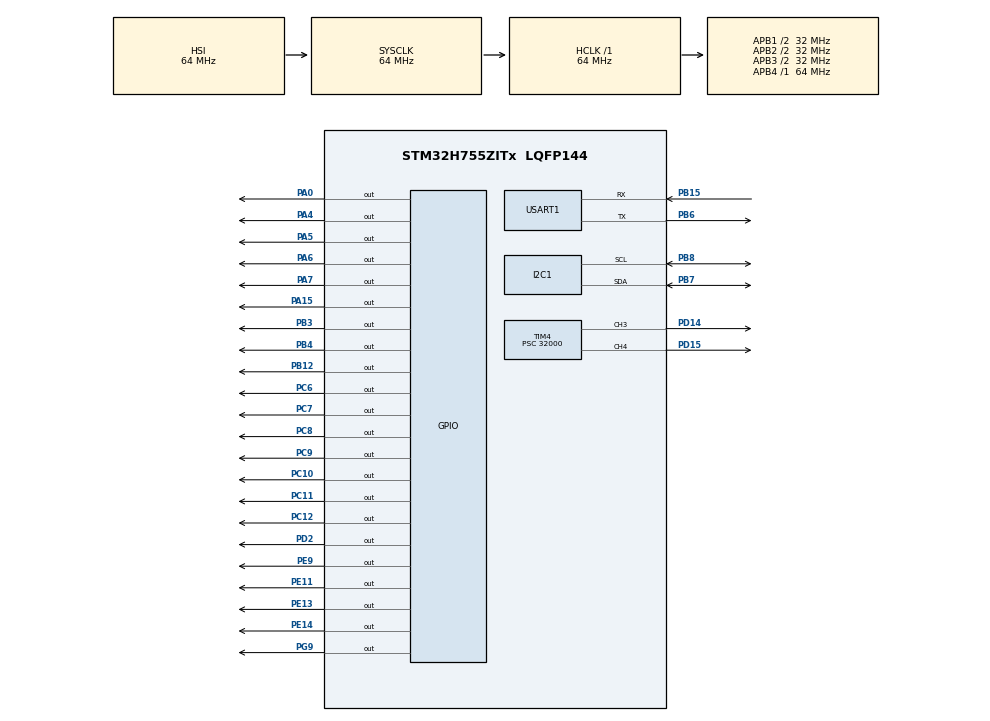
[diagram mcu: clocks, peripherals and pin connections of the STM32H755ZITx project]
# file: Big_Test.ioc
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CORTEX_M7.default_mode_Activation=1
CortexM4.IPs=BDMA,CORTEX_M4\:I,DMA,FATFS_M4\:I,FREERTOS_M4\:I,GPIO,IWDG2\:I,MDMA,NVIC2\:I,OPENAMP_M4\:I,PDM2PCM_M4\:I,PWR,RCC,RESMGR_UTILITY,SYS_M4\:I,USB_DEVICE_M4\:I,USB_HOST_M4\:I,VREFBUF,WWDG2\:I,TIM4,USART1
CortexM7.IPs=BDMA\:I,CORTEX_M7\:I,DMA\:I,FATFS_M7\:I,FREERTOS_M7\:I,GPIO\:I,IWDG1\:I,MDMA\:I,NVIC1\:I,OPENAMP_M7\:I,PDM2PCM_M7\:I,PWR\:I,RCC\:I,RESMGR_UTILITY\:I,SYS\:I,USB_DEVICE_M7\:I,USB_HOST_M7\:I,VREFBUF\:I,WWDG1\:I,MEMORYMAP\:I,TIM4\:I,TIM3\:I,I2C1\:I,TIM2\:I,USART1\:I
CortexM7.Pins=PA0,PA4,PA5,PA6,PA7,PE9,PE11,PE13,PE14,PB12,PC6,PC7,PC8,PC9,PA15 (JTDI),PC10,PC11,PC12,PD2,PG9,PB3 (JTDO/TRACESWO)
I2C1.Timing=0x00707CBB
Mcu.Family=STM32H7
Mcu.Name=STM32H755ZITx
Mcu.Package=LQFP144
NVIC1.PriorityGroup=NVIC_PRIORITYGROUP_4
NVIC1.TIM2_IRQn=true\:0\:0\:false\:false\:true\:true\:true\:true
NVIC1.TIM3_IRQn=true\:0\:0\:false\:false\:true\:true\:true\:true
NVIC1.TIM4_IRQn=true\:0\:0\:false\:false\:true\:true\:true\:true
NVIC2.PriorityGroup=NVIC_PRIORITYGROUP_4
PA0.PinAttribute=CortexM7
PA0.PinState=GPIO_PIN_SET
PA0.Signal=GPIO_Output
PA15\ (JTDI).PinAttribute=CortexM7
PA15\ (JTDI).PinState=GPIO_PIN_SET
PA15\ (JTDI).Signal=GPIO_Output
PA4.PinAttribute=CortexM7
PA4.PinState=GPIO_PIN_SET
PA4.Signal=GPIO_Output
PA5.PinAttribute=CortexM7
PA5.PinState=GPIO_PIN_SET
PA5.Signal=GPIO_Output
PA6.PinAttribute=CortexM7
PA6.PinState=GPIO_PIN_SET
PA6.Signal=GPIO_Output
PA7.PinAttribute=CortexM7
PA7.PinState=GPIO_PIN_SET
PA7.Signal=GPIO_Output
PB12.PinAttribute=CortexM7
PB12.PinState=GPIO_PIN_SET
PB12.Signal=GPIO_Output
PB15.Mode=Asynchronous
PB15.PinAttribute=CortexM7
PB15.Signal=USART1_RX
PB3\ (JTDO/TRACESWO).PinAttribute=CortexM7
PB3\ (JTDO/TRACESWO).PinState=GPIO_PIN_SET
PB3\ (JTDO/TRACESWO).Signal=GPIO_Output
PB4\ (NJTRST).PinAttribute=Free
PB4\ (NJTRST).Signal=GPIO_Output
PB6.Mode=Asynchronous
PB6.PinAttribute=CortexM7
PB6.Signal=USART1_TX
PB7.GPIO_Mode=GPIO_MODE_AF_OD
PB7.GPIO_Pu=GPIO_NOPULL
PB7.GPIO_Speed=GPIO_SPEED_FREQ_LOW
PB7.Mode=I2C
PB7.PinAttribute=CortexM7
PB7.Signal=I2C1_SDA
PB8.GPIO_Mode=GPIO_MODE_AF_OD
PB8.GPIO_Pu=GPIO_NOPULL
PB8.GPIO_Speed=GPIO_SPEED_FREQ_LOW
PB8.Mode=I2C
PB8.PinAttribute=CortexM7
PB8.Signal=I2C1_SCL
PC10.PinAttribute=CortexM7
PC10.PinState=GPIO_PIN_SET
PC10.Signal=GPIO_Output
PC11.PinAttribute=CortexM7
PC11.PinState=GPIO_PIN_SET
PC11.Signal=GPIO_Output
PC12.PinAttribute=CortexM7
PC12.PinState=GPIO_PIN_SET
PC12.Signal=GPIO_Output
PC6.PinAttribute=CortexM7
PC6.PinState=GPIO_PIN_SET
PC6.Signal=GPIO_Output
PC7.PinAttribute=CortexM7
PC7.PinState=GPIO_PIN_SET
PC7.Signal=GPIO_Output
PC8.PinAttribute=CortexM7
PC8.PinState=GPIO_PIN_SET
PC8.Signal=GPIO_Output
PC9.PinAttribute=CortexM7
PC9.PinState=GPIO_PIN_SET
PC9.Signal=GPIO_Output
PD14.PinAttribute=CortexM7
PD14.Signal=S_TIM4_CH3
PD15.PinAttribute=CortexM7
PD15.Signal=S_TIM4_CH4
PD2.PinAttribute=CortexM7
PD2.PinState=GPIO_PIN_SET
PD2.Signal=GPIO_Output
PE11.PinAttribute=CortexM7
PE11.PinState=GPIO_PIN_SET
PE11.Signal=GPIO_Output
PE13.PinAttribute=CortexM7
PE13.PinState=GPIO_PIN_SET
PE13.Signal=GPIO_Output
PE14.PinAttribute=CortexM7
PE14.PinState=GPIO_PIN_SET
PE14.Signal=GPIO_Output
PE9.PinAttribute=CortexM7
PE9.PinState=GPIO_PIN_SET
PE9.Signal=GPIO_Output
PG9.PinAttribute=CortexM7
PG9.PinState=GPIO_PIN_SET
PG9.Signal=GPIO_Output
ProjectManager.HeapSize=M4-0x200,M7-0x200
ProjectManager.StackSize=M4-0x400,M7-0x400
ProjectManager.TargetToolchain=STM32CubeIDE
RCC.ADCFreq_Value=129000000
RCC.APB1Freq_Value=32000000
RCC.APB2Freq_Value=32000000
RCC.APB3Freq_Value=32000000
RCC.APB4Freq_Value=64000000
RCC.CortexFreq_Value=64000000
RCC.D1PPRE=RCC_APB3_DIV2
RCC.D2PPRE1=RCC_APB1_DIV2
RCC.D2PPRE2=RCC_APB2_DIV2
RCC.HCLKFreq_Value=64000000
RCC.SYSCLKFreq_VALUE=64000000
RCC.USBFreq_Value=129000000
SH.S_TIM4_CH3.0=TIM4_CH3,PWM Generation3 CH3
SH.S_TIM4_CH4.0=TIM4_CH4,PWM Generation4 CH4
SYS.userName=SYS_M7
TIM2.Channel-Output\ Compare1\ No\ Output=TIM_CHANNEL_1
TIM2.Period=0xFFFFFFFF
TIM2.Prescaler=274
TIM3.Period=999
TIM3.Prescaler=63
TIM4.Channel-PWM\ Generation3\ CH3=TIM_CHANNEL_3
TIM4.Channel-PWM\ Generation4\ CH4=TIM_CHANNEL_4
TIM4.Period=49
TIM4.Prescaler=32000
TIM4.Pulse-PWM\ Generation3\ CH3=60
TIM4.Pulse-PWM\ Generation4\ CH4=60
USART1.VirtualMode-Asynchronous=VM_ASYNC
VP_MEMORYMAP_VS_MEMORYMAP.Mode=CurAppReg
VP_SYS_M4_VS_Systick.Mode=SysTick
VP_TIM2_VS_ClockSourceINT.Mode=Internal
VP_TIM2_VS_NoETR.Mode=ETR_as_clearing_source_through_remap_TIM2
VP_TIM2_VS_no_output1.Mode=Output Compare1 No Output
VP_TIM3_VS_ClockSourceINT.Mode=Internal
VP_TIM4_VS_ClockSourceINT.Mode=Internal
board=custom

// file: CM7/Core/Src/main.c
/* USER CODE BEGIN Header */
/**
  ******************************************************************************
  * @file           : main.c
  * @brief          : Main program body
  ******************************************************************************
  * @attention
  *
  * Copyright (c) 2026 STMicroelectronics.
  * All rights reserved.
  *
  * This software is licensed under terms that can be found in the LICENSE file
  * in the root directory of this software component.
  * If no LICENSE file comes with this software, it is provided AS-IS.
  *
  ******************************************************************************
  */
/* USER CODE END Header */
#include "main.h"
#include "i2c.h"
#include "tim.h"
#include "usart.h"
#include "gpio.h"

/* USER CODE BEGIN Includes */

#define TIM4_CCR3_OFFSET 0x3C
#define TIM4_CCR4_OFFSET 0x40
#define TIM4_ADDR 0x40000800

#define NUM_OF_CHANNELS 1
#define REPORT_FREQ_HZ 50
/* USER CODE END Includes */

/* USER CODE BEGIN PD */
HAL_StatusTypeDef a;
int read_data = 0;

#ifndef HSEM_ID_0
#define HSEM_ID_0 (0U) /* HW semaphore 0*/
#endif

/* USER CODE END PD */

/* USER CODE BEGIN PV */
bno055_t bno;
error_bno err;
volatile uint8_t time;
int initial_angle[NUM_OF_CHANNELS];
/* USER CODE END PV */

void SystemClock_Config(void);
static void MPU_Config(void);

/* USER CODE BEGIN 0 */
void HAL_TIM_PeriodElapsedCallback(TIM_HandleTypeDef *htim){
	if(htim ==&htim3){
		time = 1;
	}
}
/* USER CODE END 0 */

int main(void)
{

  /* USER CODE BEGIN 1 */
	uint8_t buf[12];
  /* USER CODE END 1 */
/* USER CODE BEGIN Boot_Mode_Sequence_0 */
  int32_t timeout;
/* USER CODE END Boot_Mode_Sequence_0 */

  /* MPU Configuration--------------------------------------------------------*/
  MPU_Config();

/* USER CODE BEGIN Boot_Mode_Sequence_1 */
  /* Wait until CPU2 boots and enters in stop mode or timeout*/
  timeout = 0xFFFF;
  while((__HAL_RCC_GET_FLAG(RCC_FLAG_D2CKRDY) != RESET) && (timeout-- > 0));
  if ( timeout < 0 )
  {
  Error_Handler();
  }
/* USER CODE END Boot_Mode_Sequence_1 */
  /* MCU Configuration--------------------------------------------------------*/

  /* Reset of all peripherals, Initializes the Flash interface and the Systick. */
  HAL_Init();

  /* Configure the system clock */
  SystemClock_Config();
/* USER CODE BEGIN Boot_Mode_Sequence_2 */
/* When system initialization is finished, Cortex-M7 will release Cortex-M4 by means of
HSEM notification */
/*HW semaphore Clock enable*/
__HAL_RCC_HSEM_CLK_ENABLE();
/*Take HSEM */
HAL_HSEM_FastTake(HSEM_ID_0);
/*Release HSEM in order to notify the CPU2(CM4)*/
HAL_HSEM_Release(HSEM_ID_0,0);
/* wait until CPU2 wakes up from stop mode */
timeout = 0xFFFF;
while((__HAL_RCC_GET_FLAG(RCC_FLAG_D2CKRDY) == RESET) && (timeout-- > 0));
if ( timeout < 0 )
{
Error_Handler();
}
/* USER CODE END Boot_Mode_Sequence_2 */

  /* Initialize all configured peripherals */
  MX_GPIO_Init();
  MX_TIM4_Init();
  MX_TIM3_Init();
  MX_I2C1_Init();
  MX_TIM2_Init();
  MX_USART1_UART_Init();
  /* USER CODE BEGIN 2 */
  uint32_t *CCR3 = (uint32_t*)(TIM4_ADDR + TIM4_CCR3_OFFSET);
  *CCR3 = 25;
  uint32_t *CCR4 = (uint32_t*)(TIM4_ADDR + TIM4_CCR4_OFFSET);
  *CCR4 = 25;

  // i2c_mux_t mux = {
  //   .hi2c = &hi2c1,
  //   .addr_offset = 0,
  //   .rst_port = NULL,
  //   .rst_pin = 0
  // };

  // init_BNO(&hi2c1, REPORT_FREQ_HZ, &mux, NUM_OF_CHANNELS);

  // for(int i = 0;i<NUM_OF_CHANNELS;i++){
  // 	 read_init_angle(&hi2c1,initial_angle,i);
  // }

  // printf("Initial angles: %d\r\n", initial_angle[0]);

//    if (BNO_Init() != HAL_OK) {
//        printf("BNO085 initialization failed!\r\n");
//        while(1){
//        	printf("BNO085 initialization failed!\r\n");
//        };
//    }
//    printf("BNO085 initialization successful, starting data collection\r\n\r\n");
//
//    HAL_Delay(1000);

    //HAL_TIM_PWM_Start(&htim4, TIM_CHANNEL_3);
    //HAL_TIM_PWM_Start(&htim4, TIM_CHANNEL_4);

  TCA9548A_SetChannel(0);
  read_data = TCA9548A_Init();

  if (init_BNO085() != HAL_OK) {
        printf("BNO085 初始化失败！\r\n");
        while(1){
        	printf("failed\r\n");
        }
    }
    printf("BNO085 初始化完成，开始采集数据\r\n\r\n");

  HAL_Delay(1000);

  HAL_TIM_PWM_Start(&htim4, TIM_CHANNEL_3);
  HAL_TIM_PWM_Start(&htim4, TIM_CHANNEL_4);

  // bno = (bno055_t){
  //     .i2c = &hi2c1, .addr = BNO_ADDR, .mode = BNO_MODE_IMU,  ._temp_unit = 0,
  // };
  // HAL_Delay(5000);

  // if ((err = bno055_init(&bno)) == BNO_OK) {
	//   printf("[+] BNO055 init success\r\n");
	//   HAL_Delay(100);
  // } else {
	//   printf("[!] BNO055 init failed\r\n");
	//   printf("%s\n", bno055_err_str(err));
	//   Error_Handler();
  // }
  // HAL_Delay(100);

  // err = bno055_set_unit(&bno, BNO_TEMP_UNIT_C, BNO_GYR_UNIT_DPS,
  //                       BNO_ACC_UNITSEL_M_S2, BNO_EUL_UNIT_DEG);
  // if (err != BNO_OK) {
  //     printf("[BNO] Failed to set units. Err: %d\r\n", err);
  // } else {
  //     printf("[BNO] Unit selection success\r\n");
  // }

  // HAL_Delay(1000);

  // bno055_vec3_t gyr;
  // bno055_vec3_t acc;

  /* USER CODE END 2 */

  /* Infinite loop */
  /* USER CODE BEGIN WHILE */
  HAL_TIM_Base_Start_IT(&htim3);

  printf("while begins\r\n");

  while (1)
  {
	  //strcpy((char*)buf, "Hello\r\n");
	  //HAL_UART_Transmit(&hlpuart1, buf, strlen((char*)buf), HAL_MAX_DELAY);
//	  ret = HAL_I2C_Master_Transmit(&hi2c1, tca, &sel, 1, 100);
//	  if(ret != HAL_OK){
//		  strcpy((char*)buf, "Error Tx\r\n");
//	  }else{
//		  ret = HAL_I2C_Master_Receive(&hi2c1, tca, &sel, 1, 100);
//	  }

	  // bno.gyro(&bno, &gyr);
	  // bno.acc(&bno, &acc);
    //   printf("[+] GYR - x: %+2.2f | y: %+2.2f | z: %+2.2f\r\n", gyr.x, gyr.y, gyr.z);
	  // printf("[+] ACC - x: %+2.2f | y: %+2.2f | z: %+2.2f\r\n", acc.x, acc.y, acc.z);

    BNO_Accelerometer_t accel = {0};

    if (read_accelerometer_data(&accel) == HAL_OK) {
        printf("X: %.2f, Y: %.2f, Z: %.2f (m/s²)\r\n",
                accel.X, accel.Y, accel.Z);
    } else {
        printf("Failed to read accelerometer data\r\n");
    }

	while(time == 0){

	}
	time = 0;
  }
    /* USER CODE END WHILE */

}

void SystemClock_Config(void)
{
  RCC_OscInitTypeDef RCC_OscInitStruct = {0};
  RCC_ClkInitTypeDef RCC_ClkInitStruct = {0};

  /** Supply configuration update enable
  */
  HAL_PWREx_ConfigSupply(PWR_DIRECT_SMPS_SUPPLY);

  /** Configure the main internal regulator output voltage
  */
  __HAL_PWR_VOLTAGESCALING_CONFIG(PWR_REGULATOR_VOLTAGE_SCALE3);

  while(!__HAL_PWR_GET_FLAG(PWR_FLAG_VOSRDY)) {}

  /** Initializes the RCC Oscillators according to the specified parameters
  * in the RCC_OscInitTypeDef structure.
  */
  RCC_OscInitStruct.OscillatorType = RCC_OSCILLATORTYPE_HSI;
  RCC_OscInitStruct.HSIState = RCC_HSI_DIV1;
  RCC_OscInitStruct.HSICalibrationValue = RCC_HSICALIBRATION_DEFAULT;
  RCC_OscInitStruct.PLL.PLLState = RCC_PLL_NONE;
  if (HAL_RCC_OscConfig(&RCC_OscInitStruct) != HAL_OK)
  {
    Error_Handler();
  }

  /** Initializes the CPU, AHB and APB buses clocks
  */
  RCC_ClkInitStruct.ClockType = RCC_CLOCKTYPE_HCLK|RCC_CLOCKTYPE_SYSCLK
                              |RCC_CLOCKTYPE_PCLK1|RCC_CLOCKTYPE_PCLK2
                              |RCC_CLOCKTYPE_D3PCLK1|RCC_CLOCKTYPE_D1PCLK1;
  RCC_ClkInitStruct.SYSCLKSource = RCC_SYSCLKSOURCE_HSI;
  RCC_ClkInitStruct.SYSCLKDivider = RCC_SYSCLK_DIV1;
  RCC_ClkInitStruct.AHBCLKDivider = RCC_HCLK_DIV1;
  RCC_ClkInitStruct.APB3CLKDivider = RCC_APB3_DIV2;
  RCC_ClkInitStruct.APB1CLKDivider = RCC_APB1_DIV2;
  RCC_ClkInitStruct.APB2CLKDivider = RCC_APB2_DIV2;
  RCC_ClkInitStruct.APB4CLKDivider = RCC_APB4_DIV1;

  if (HAL_RCC_ClockConfig(&RCC_ClkInitStruct, FLASH_LATENCY_1) != HAL_OK)
  {
    Error_Handler();
  }
}

/* USER CODE BEGIN 4 */
 #ifdef __GNUC__
 #define PUTCHAR_PROTOTYPE int __io_putchar(int ch)
 #else
   #define PUTCHAR_PROTOTYPE int fputc(int ch, FILE *f)
 #endif /* __GNUC__ */
 PUTCHAR_PROTOTYPE
 {
   HAL_UART_Transmit(&huart1, (uint8_t *)&ch, 1, 0xFFFFFFFF);
   return ch;
 }

/* USER CODE END 4 */

 /* MPU Configuration */

void MPU_Config(void)
{
  MPU_Region_InitTypeDef MPU_InitStruct = {0};

  /* Disables the MPU */
  HAL_MPU_Disable();

  /** Initializes and configures the Region and the memory to be protected
  */
  MPU_InitStruct.Enable = MPU_REGION_ENABLE;
  MPU_InitStruct.Number = MPU_REGION_NUMBER0;
  MPU_InitStruct.BaseAddress = 0x0;
  MPU_InitStruct.Size = MPU_REGION_SIZE_4GB;
  MPU_InitStruct.SubRegionDisable = 0x87;
  MPU_InitStruct.TypeExtField = MPU_TEX_LEVEL0;
  MPU_InitStruct.AccessPermission = MPU_REGION_NO_ACCESS;
  MPU_InitStruct.DisableExec = MPU_INSTRUCTION_ACCESS_DISABLE;
  MPU_InitStruct.IsShareable = MPU_ACCESS_SHAREABLE;
  MPU_InitStruct.IsCacheable = MPU_ACCESS_NOT_CACHEABLE;
  MPU_InitStruct.IsBufferable = MPU_ACCESS_NOT_BUFFERABLE;

  HAL_MPU_ConfigRegion(&MPU_InitStruct);
  /* Enables the MPU */
  HAL_MPU_Enable(MPU_PRIVILEGED_DEFAULT);

}

void Error_Handler(void)
{
  __disable_irq();
  while (1)
  {
  }
}
